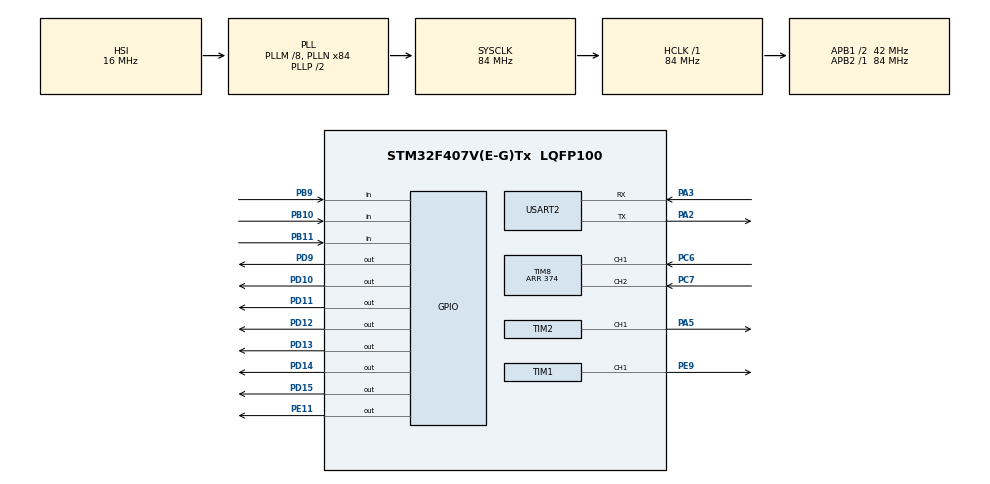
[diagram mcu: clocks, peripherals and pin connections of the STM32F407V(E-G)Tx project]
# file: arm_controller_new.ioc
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Dma.Request0=USART2_RX
Dma.USART2_RX.0.Direction=DMA_PERIPH_TO_MEMORY
Dma.USART2_RX.0.FIFOMode=DMA_FIFOMODE_DISABLE
Dma.USART2_RX.0.Instance=DMA1_Stream5
Dma.USART2_RX.0.MemDataAlignment=DMA_MDATAALIGN_BYTE
Dma.USART2_RX.0.MemInc=DMA_MINC_ENABLE
Dma.USART2_RX.0.Mode=DMA_CIRCULAR
Dma.USART2_RX.0.PeriphDataAlignment=DMA_PDATAALIGN_BYTE
Dma.USART2_RX.0.PeriphInc=DMA_PINC_DISABLE
Dma.USART2_RX.0.Priority=DMA_PRIORITY_VERY_HIGH
Mcu.Family=STM32F4
Mcu.Name=STM32F407V(E-G)Tx
Mcu.Package=LQFP100
NVIC.DMA1_Stream5_IRQn=true\:15\:0\:true\:false\:true\:false\:true
NVIC.PriorityGroup=NVIC_PRIORITYGROUP_4
NVIC.TIM3_IRQn=true\:15\:0\:true\:false\:true\:true\:true
<<<<<<< HEAD
=======
NVIC.USART2_IRQn=true\:0\:0\:false\:false\:true\:true\:true
>>>>>>> 4525c607d7f788c515af0eabedd7d3ae81850b45
PA13.Mode=Serial_Wire
PA13.Signal=SYS_JTMS-SWDIO
PA14.Mode=Serial_Wire
PA14.Signal=SYS_JTCK-SWCLK
PA2.Mode=Asynchronous
PA2.Signal=USART2_TX
PA3.Mode=Asynchronous
PA3.Signal=USART2_RX
PA5.Signal=S_TIM2_CH1_ETR
PB10.Signal=GPIO_Input
PB11.GPIO_Mode=GPIO_MODE_INPUT
PB11.GPIO_PuPd=GPIO_NOPULL
PB11.Signal=GPIO_Input
PB9.GPIO_Mode=GPIO_MODE_INPUT
PB9.GPIO_PuPd=GPIO_NOPULL
PB9.Signal=GPIO_Input
PC6.GPIO_Speed=GPIO_SPEED_FREQ_HIGH
PC6.Signal=S_TIM8_CH1
PC7.Signal=S_TIM8_CH2
PD10.GPIO_ModeDefaultOutputPP=GPIO_MODE_OUTPUT_PP
PD10.GPIO_PuPd=GPIO_NOPULL
PD10.GPIO_Speed=GPIO_SPEED_FREQ_VERY_HIGH
PD10.PinState=GPIO_PIN_RESET
PD10.Signal=GPIO_Output
PD11.GPIO_ModeDefaultOutputPP=GPIO_MODE_OUTPUT_PP
PD11.GPIO_PuPd=GPIO_NOPULL
PD11.GPIO_Speed=GPIO_SPEED_FREQ_VERY_HIGH
PD11.PinState=GPIO_PIN_RESET
PD11.Signal=GPIO_Output
PD12.GPIO_ModeDefaultOutputPP=GPIO_MODE_OUTPUT_PP
PD12.GPIO_PuPd=GPIO_PULLUP
PD12.GPIO_Speed=GPIO_SPEED_FREQ_VERY_HIGH
PD12.PinState=GPIO_PIN_RESET
PD12.Signal=GPIO_Output
PD13.Signal=GPIO_Output
PD14.GPIO_ModeDefaultOutputPP=GPIO_MODE_OUTPUT_PP
PD14.GPIO_PuPd=GPIO_PULLUP
PD14.GPIO_Speed=GPIO_SPEED_FREQ_VERY_HIGH
PD14.PinState=GPIO_PIN_RESET
PD14.Signal=GPIO_Output
PD15.GPIO_ModeDefaultOutputPP=GPIO_MODE_OUTPUT_PP
PD15.GPIO_PuPd=GPIO_PULLUP
PD15.GPIO_Speed=GPIO_SPEED_FREQ_VERY_HIGH
PD15.PinState=GPIO_PIN_RESET
PD15.Signal=GPIO_Output
PD9.GPIO_ModeDefaultOutputPP=GPIO_MODE_OUTPUT_PP
PD9.GPIO_PuPd=GPIO_NOPULL
PD9.GPIO_Speed=GPIO_SPEED_FREQ_VERY_HIGH
PD9.PinState=GPIO_PIN_RESET
PD9.Signal=GPIO_Output
PE11.Signal=GPIO_Output
PE9.Signal=S_TIM1_CH1
ProjectManager.HeapSize=0x200
ProjectManager.StackSize=0x400
ProjectManager.TargetToolchain=MDK-ARM V5
RCC.48MHZClocksFreq_Value=42000000
RCC.AHBFreq_Value=84000000
RCC.APB1CLKDivider=RCC_HCLK_DIV2
RCC.APB1Freq_Value=42000000
RCC.APB1TimFreq_Value=84000000
RCC.APB2Freq_Value=84000000
RCC.APB2TimFreq_Value=84000000
RCC.CortexFreq_Value=84000000
RCC.HCLKFreq_Value=84000000
RCC.HSE_VALUE=25000000
RCC.HSI_VALUE=16000000
RCC.LSE_VALUE=32768
RCC.PLLM=8
RCC.PLLN=84
RCC.SYSCLKFreq_VALUE=84000000
RCC.SYSCLKSource=RCC_SYSCLKSOURCE_PLLCLK
RCC.VCOOutputFreq_Value=168000000
SH.S_TIM1_CH1.0=TIM1_CH1,PWM Generation1 CH1
SH.S_TIM2_CH1_ETR.0=TIM2_CH1,PWM Generation1 CH1
SH.S_TIM8_CH1.0=TIM8_CH1,Encoder_Interface
SH.S_TIM8_CH2.0=TIM8_CH2,Encoder_Interface
TIM1.Channel-PWM\ Generation1\ CH1=TIM_CHANNEL_1
TIM1.Period=999
TIM1.Prescaler=84
TIM2.Channel-PWM\ Generation1\ CH1=TIM_CHANNEL_1
TIM2.Period=1000-1
TIM2.Prescaler=1680-1
TIM3.Period=999
TIM3.Prescaler=8399
<<<<<<< HEAD
TIM8.Period=5000
=======
TIM8.Period=374
>>>>>>> 4525c607d7f788c515af0eabedd7d3ae81850b45
USART2.VirtualMode=VM_ASYNC
VP_TIM1_VS_ClockSourceINT.Mode=Internal
VP_TIM2_VS_ClockSourceINT.Mode=Internal
VP_TIM3_VS_ClockSourceINT.Mode=Internal
VP_TIM4_VS_ClockSourceINT.Mode=Internal
board=custom

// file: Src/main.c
/* USER CODE BEGIN Header */
/**
  ******************************************************************************
  * @file           : main.c
  * @brief          : Main program body
  ******************************************************************************
  * @attention
  *
  * <h2><center>&copy; Copyright (c) 2019 STMicroelectronics.
  * All rights reserved.</center></h2>
  *
  * This software component is licensed by ST under BSD 3-Clause license,
<<<<<<< HEAD
  * the "License"; You may not u	se this file except in compliance with the
=======
  * the "License"; You may not use this file except in compliance with the
>>>>>>> 4525c607d7f788c515af0eabedd7d3ae81850b45
  * License. You may obtain a copy of the License at:
  *                        opensource.org/licenses/BSD-3-Clause
  *
  ******************************************************************************
	SENSOR SONAR
<<<<<<< HEAD
=======
	VCC: 5V
>>>>>>> 4525c607d7f788c515af0eabedd7d3ae81850b45
	TRIGGER: D9 --- ECHO: B9
	TRIGGER: D10 --- ECHO: B10
	TRIGGER: D11 --- ECHO: B11

	-------------------------------
	MOTOR DC SERVO - pwm: PE9,   DIR: PE11
<<<<<<< HEAD
	M1 ->> OUT4 -->> M4 -->> PE11 (PWM)
	M2 ->> OUT3 -->> M3 -->> PE9	(DIR)
=======
	M1(red) 	->> OUT4 -->> IN4 -->> PE9 (PWM)
	M2(white) ->> OUT3 -->> IN3 -->> PE11	(DIR)
>>>>>>> 4525c607d7f788c515af0eabedd7d3ae81850b45

	-------------------------------
	MOTOR RC SERVO
	PWM --- PA5 (MAU CAM)
<<<<<<< HEAD
	ENCODER:
	PC6,7
	-------------------------------
		UART2(STM) ---- (USB)
		PA2 (TX) ---- RX
		PA3 (RX) ---- TX

=======

	-------------------------------
		UART2(STM) ---- (USB)
		PA2 (TX) ---- RX
		PA3 (RX) ---- TX

 ------------------------------
	ENCODER
		PC6
		PC7

>>>>>>> 4525c607d7f788c515af0eabedd7d3ae81850b45
*/

/* USER CODE END Header */

#include "main.h"

/* USER CODE BEGIN Includes */
#include "stm32f4xx.h"
<<<<<<< HEAD
//#include "dwt_delay.h"
#include "math.h"
#include "dwt_delay.h"
=======
#include "dwt_delay.h"
#include "math.h"
>>>>>>> 4525c607d7f788c515af0eabedd7d3ae81850b45
/* USER CODE END Includes */

TIM_HandleTypeDef htim1;
TIM_HandleTypeDef htim2;
TIM_HandleTypeDef htim3;
TIM_HandleTypeDef htim4;
TIM_HandleTypeDef htim8;

UART_HandleTypeDef huart2;
DMA_HandleTypeDef hdma_usart2_rx;

/* USER CODE BEGIN PV */
<<<<<<< HEAD

// vr for uart
float k[2];    // k[0] truoc cham, k[1] sau cham -> k[0],k[1] (float)
uint8_t receivebuffer[5], transmitData[2];
double data[4] = {0,0,0,0};

// _____Vr for Servo_________
float SERVO_MICROS_MAX = 2.7;
float SERVO_MICRO_MIN = 0.55;
int32_t pulse_length;
float x=0.2;
_Bool enableSendSpeed = 0, isStart = 0;
uint16_t pre_enc=0;
float dt=0.1F;

//_____Vr for control________
uint16_t f=0;
float pre_cte, int_cte=0, err=0, steer;
double pi=3.1415927;
float error;
uint8_t flag_stop;
uint8_t ss=0;
float angle =0, pre_angle=0;
uint16_t a1;

//_____Fuzzy_________
uint16_t DC_PWM = 0;
double setpoint;
double pre_Dv =0;
double v = 0;
int16_t DeltaDC_PWM = 0;

//_____Sonarsensor_________
volatile float distance1=0, distance2=0, distance3=0;
signed int upper_limit_sensor=20;
uint16_t local_time=0;
float Ts=0.1;
// _____PID_________
double int_DC_PWM = 0;
double diff_DC_PWM = 0;
uint16_t enc=0;
=======
// volatile float time_sensor1=0, time_sensor2=0, time_sensor3=0, time_sensor4=0; //timer for echo pulse from sensors
// uint16_t echo_sensor1=0, echo_sensor2=0, echo_sensor3=0, echo_sensor4=0;
// volatile unsigned int en_sensor1=0, en_sensor2=0, en_sensor3=0, en_sensor4=0;
volatile float distance1=0, distance2=0, distance3=0, distance4=0;
volatile uint16_t local_time=0;
uint8_t ss=0;
// volatile float alpha=0;
// volatile double current_speed_left=0, current_speed_right=0;
// unsigned int TIM_Period=399;
signed int upper_limit_sensor=20;
// volatile unsigned int count_spin=0,count_lost=0,count_track=0;
// volatile int error_Position=0,error_Distance=0;
uint8_t receivebuffer[6], transmitData[3];
uint8_t Obstacle=0;
uint8_t isStart=0, SttSpeed=0;
// volatile int pwm_L=0,pwm_R=0;
// vr for uart
float k[2]; // k[0] truoc cham, k[1] sau cham -> k[0],k[1] (float)
uint16_t pre_enc=0;
float dt=0.1F;
// vr for encoder
// uint16_t encCounter;
// uint16_t vantoc;
// vr for servo
float SERVO_MICROS_MAX = 2.5F;
float SERVO_MICRO_MIN = 0.5F;
int32_t pulse_length;
float x=0.2;
uint16_t f=0;
float pre_cte, int_cte=0, err=0, steer;

double pi=3.1415927;

float error;
float Ts=0.1;

uint8_t flag_stop;

// variables for twiddle
uint8_t flag_td=1; // flag twiddle
uint8_t td=0;
uint16_t it =0;
float sum_dp, best_err;
float p[3]={0,0,0}, dp[3]={1,1,1};

// float cte, pre_cte, diff_cte, err;

float v = 2.12F;
float cte;
float errorRcv;
>>>>>>> 4525c607d7f788c515af0eabedd7d3ae81850b45
/* USER CODE END PV */

void SystemClock_Config(void);
static void MX_GPIO_Init(void);
static void MX_DMA_Init(void);
static void MX_TIM1_Init(void);
static void MX_TIM2_Init(void);
static void MX_TIM3_Init(void);
static void MX_USART2_UART_Init(void);
static void MX_TIM8_Init(void);
static void MX_TIM4_Init(void);
/* USER CODE BEGIN PFP */
<<<<<<< HEAD
void PWM_servo(int16_t rota);
void PWM_DC_Servo(int16_t value);
void delay (uint32_t us);
float twiddle(float *p, float *dp, float err);
float Controller(float errorRcv, uint8_t Sttspeed);

// ------------------------Ham xuat dong co (PA5)----------------------------------
void PWM_servo(int16_t rota)
{
	rota+=90.0F;
	  pulse_length=(((SERVO_MICROS_MAX-SERVO_MICRO_MIN)*(float)rota)/180.0F+  SERVO_MICRO_MIN)*50.0F;
=======
void PWM_servo(float rota);
void PWM_DC_Servo(int16_t value);
void delay (uint32_t us);
float twiddle(float *p, float *dp, float err);
float PID_Controller(float errorRcv, uint8_t Sttspeed, float params[], uint16_t n);

//ham xuat dong co, rota(cam)  ----- PA0
void PWM_servo(float rota)
{
	if (fabs(rota)>50.0F)
	{
		rota= 50.0F*rota/(fabs(rota));
	}
	rota+=100.5F;

	  pulse_length=(((SERVO_MICROS_MAX-SERVO_MICRO_MIN)*(float)rota)/180.0F+SERVO_MICRO_MIN)*50.0F;
>>>>>>> 4525c607d7f788c515af0eabedd7d3ae81850b45
//	  pulse_length= (2.0F*(float)rota/180.0F+0.5F)*50.0F; //25->125
	__HAL_TIM_SET_COMPARE(&htim2, TIM_CHANNEL_1, (int16_t)pulse_length);
}

// control dc servo ----- pwm: PE9,   DIR: PE11
void PWM_DC_Servo(int16_t value)
{
	// tien
	if (value>=0)
	{
		__HAL_TIM_SET_COMPARE(&htim1, TIM_CHANNEL_1, value);
		HAL_GPIO_WritePin(GPIOE, GPIO_PIN_11, GPIO_PIN_RESET);
	}
	// lui
	else
	{
		__HAL_TIM_SET_COMPARE(&htim1, TIM_CHANNEL_1, -value);
		HAL_GPIO_WritePin(GPIOE, GPIO_PIN_11, GPIO_PIN_SET);
	}
<<<<<<< HEAD
	a1=value;
}

// ------------------------Read Sonar Sensor----------------------------------
float hcsr04_read (uint16_t GPIO_TRIGGER, uint16_t GPIO_ECHO)
{
	local_time=0;
	HAL_GPIO_WritePin(GPIOD, GPIO_TRIGGER, GPIO_PIN_SET);  // pull the TRIG pin low
	HAL_Delay(1);
	HAL_GPIO_TogglePin(GPIOD, GPIO_PIN_13);
=======
}

// read sonar sensor
float hcsr04_read (uint16_t GPIO_TRIGGER, uint16_t GPIO_ECHO)
{
	local_time=0;
	//	DWT_Delay(100);
	// uint16_t timeout=0;
	// HAL_GPIO_WritePin(GPIOD, GPIO_TRIGGER, GPIO_PIN_RESET);  // pull the TRIG pin HIGH
	// DWT_Delay_us(2);  // wait for 2 us
	HAL_GPIO_WritePin(GPIOD, GPIO_TRIGGER, GPIO_PIN_SET);  // pull the TRIG pin low
	DWT_Delay(10);  // wait for 10 us

>>>>>>> 4525c607d7f788c515af0eabedd7d3ae81850b45
	HAL_GPIO_WritePin(GPIOD, GPIO_TRIGGER, GPIO_PIN_RESET);  // pull the TRIG pin HIGH

	// read the time for which the pin is high

	while (!(HAL_GPIO_ReadPin(GPIOB, GPIO_ECHO)));  // wait for the ECHO pin to go high

	while (HAL_GPIO_ReadPin(GPIOB, GPIO_ECHO))    // while the pin is high
	 {
<<<<<<< HEAD

		local_time++;   // measure time for which the pin is high
		 // DWT_Delay(2);
	 }
	return local_time*0.00876/2;
=======
		local_time++;   // measure time for which the pin is high
		DWT_Delay(1);
	 }
	return local_time*0.0526/2;
>>>>>>> 4525c607d7f788c515af0eabedd7d3ae81850b45
}

// get velocity
float velocity()
{
<<<<<<< HEAD
	 enc= TIM8->CNT;
	 TIM8->CNT=0;
	return(enc*1.3*pi/2387.0F);
}

// ------------------------Fuzzy Controller----------------------------------

double mu(double x,double L,double C1,double C2,double R){
	double y;
    if (x < L)
        y = 0;
    else if (x<C1)
        y = (x-L)/(C1-L);
    else if (x<C2)
        y = 1;
    else if (x<R)
        y = (R-x)/(R-C2);
    else
        y = 0;
    return y;
}

double max(double num1, double num2)
{
    return (num1 > num2 ) ? num1 : num2;
}

// Fuzzification for Servo
double Defuzzification_Servo(double Phi, double DPhi){
    // Fuzzification DPhi
    double DPhi_NE = mu(DPhi,-100, -100, -7, 0);
    double DPhi_ZE = mu(DPhi,-7, -3 , 3, 7);
    double DPhi_PO = mu(DPhi, 3, 7, 100, 100);

    // Fuzzification Phi
    double Phi_NB = mu(Phi, -90, -90, -45, -25);
    double Phi_NS = mu(Phi, -45, -25, -15, -5);
    double Phi_ZE = mu(Phi, -15, -5, 5, 15);
    double Phi_PS = mu(Phi, 5, 15, 25, 45);
    double Phi_PB = mu(Phi, 25, 45, 90, 90);

    // Defuzzication for output
    double Servo_NB = -60;
    double Servo_NM = -40;
    double Servo_NS = -20;
    double Servo_ZE = 	0;
    double Servo_PS =  20;
    double Servo_PM =  40;
    double Servo_PB =  60;

    // Rules
    double Servo1 = Phi_NB * DPhi_NE;
    double Servo2 = Phi_NB * DPhi_ZE;
    double Servo3 = Phi_NB * DPhi_PO;

    double Servo4 = Phi_NS * DPhi_NE;
    double Servo5 = Phi_NS * DPhi_ZE;
    double Servo6 = Phi_NS * DPhi_PO;

    double Servo7 = Phi_ZE * DPhi_NE;
    double Servo8 = Phi_ZE * DPhi_ZE;
    double Servo9 = Phi_ZE * DPhi_PO;

    double Servo10 = Phi_PS * DPhi_NE;
    double Servo11 = Phi_PS * DPhi_ZE;
    double Servo12 = Phi_PS * DPhi_PO;

    double Servo13 = Phi_PB * DPhi_NE;
    double Servo14 = Phi_PB * DPhi_ZE;
    double Servo15 = Phi_PB * DPhi_PO;

    // Max calculate
    double PB = max(Servo13,Servo14);
    double PM = Servo10;
    double PS = max(Servo15, max(Servo11, Servo7));
    double ZE = max(Servo12, max(Servo8, Servo4));
    double NS = max(Servo1, max(Servo5, Servo9));
    double NM = Servo6;
    double NB = max(Servo3, Servo2);

    double Sum_Servo = PB+PM+PS+ZE+NS+NM+NB;
		double DeltaPWM_Servo = 0;
		if (Sum_Servo != 0)
		{
			DeltaPWM_Servo = (Servo_PB*PB+Servo_PM*PM+Servo_PS*PS+Servo_ZE*ZE+Servo_NS*NS+Servo_NM*NM+Servo_NB*NB)/Sum_Servo;
		}
    return DeltaPWM_Servo;
}

// ------------------------Fuzzy Controller DC_Servo----------------------------------
double Defuzzification_DC_Servo(double Delta_v, double a){
    // Fuzzification a
    double DPhi_NE = mu(a,-1000, -1000, -0.1, -0.05);
    double DPhi_ZE = mu(a,-0.1, -0.05 , 0.05, 0.1);
    double DPhi_PO = mu(a, 0.05, 0.1, 1000, 1000);

    // Fuzzification Delta_v
    double Phi_NB = mu(Delta_v, -6, -6, -0.2, -0.1);
    double Phi_NS = mu(Delta_v, -0.2, -0.1, -0.05, 0);
    double Phi_ZE = mu(Delta_v, -0.05, 0, 0, 0.05);
    double Phi_PS = mu(Delta_v, 0, 0.05, 0.1, 0.2);
    double Phi_PB = mu(Delta_v, 0.1, 0.2, 6, 6);

    // Defuzzication for output
    double DCServo_NB = -200;
    double DCServo_NM = -120;
    double DCServo_NS = -60;
    double DCServo_ZE = 0;
    double DCServo_PS = 60;
    double DCServo_PM = 120;
		double DCServo_PB = 200;
    // Rules
    double DCServo1 = Phi_NB * DPhi_NE;
    double DCServo2 = Phi_NB * DPhi_ZE;
    double DCServo3 = Phi_NB * DPhi_PO;

    double DCServo4 = Phi_NS * DPhi_NE;
    double DCServo5 = Phi_NS * DPhi_ZE;
    double DCServo6 = Phi_NS * DPhi_PO;

    double DCServo7 = Phi_ZE * DPhi_NE;
    double DCServo8 = Phi_ZE * DPhi_ZE;
    double DCServo9 = Phi_ZE * DPhi_PO;

    double DCServo10 = Phi_PS * DPhi_NE;
    double DCServo11 = Phi_PS * DPhi_ZE;
    double DCServo12 = Phi_PS * DPhi_PO;

    double DCServo13 = Phi_PB * DPhi_NE;
    double DCServo14 = Phi_PB * DPhi_ZE;
    double DCServo15 = Phi_PB * DPhi_PO;

    // Max calculate
    double PB = max(DCServo15, DCServo14);
    double PM = DCServo12;
    double PS = max(DCServo13, max(DCServo11, DCServo9));
    double ZE = max(DCServo10, max(DCServo8, DCServo6));
    double NS = max(DCServo3, max(DCServo5, DCServo7));
    double NM = DCServo4;
    double NB = max(DCServo1,DCServo2);

    double Sum_DCServo = PB+PM+PS+ZE+NS+NM+NB;
		double PWM_DCServo = 0;
		if (Sum_DCServo!= 0)
		{
			PWM_DCServo = (DCServo_PB*PB+DCServo_PM*PM+DCServo_PS*PS+DCServo_ZE*ZE+DCServo_NS*NS+DCServo_NM*NM+DCServo_NB*NB)/Sum_DCServo;
		}
//	  uint16_t speed;
//		if(Sttspeed==1)
//				speed=800;
//		else if(Sttspeed==0)
//				speed=600;
    return PWM_DCServo;
}
	// ------------------------PID----------------------------------
void PID_Controller(float setpt)
{
	float Kp = 2.3;
	float Ki = 0.1;
	float Kd = 0.02;
	double Dv = 200*(setpt - v);
	int_DC_PWM = int_DC_PWM + Dv;
	diff_DC_PWM = Dv - pre_Dv;

	pre_Dv = Dv;

	DC_PWM = -(Kp*Dv + Ki*int_DC_PWM + Kd*diff_DC_PWM);

=======
	uint16_t enc= TIM8->CNT;
	TIM8->CNT=0;
	return(enc*pi/374.0F);
}
//--------------------- 14/05/2020-------------------

//float polyeval(float k[], double x)
//{
//	float y=0;
//	for(int i=0; i< 3 ; i++ )
//	y+=k[i]*powf(x,3-i);
//	return y;
//	}

	/*
	fast => speed 400
	slow => speed 200
	*/

float PID_Controller(float errorRcv, uint8_t Sttspeed, float params[], uint16_t n)
{

	float diff_cte;
	uint16_t speed;
	if(Sttspeed==1)
		speed=900;
	else if(Sttspeed==0)
		speed=400;
		pre_cte = cte;
	//pre_cte = polyeval(k, 0);
	f++;
		cte = errorRcv;
//	cte = polyeval(k, 0);
	diff_cte=cte-pre_cte;
	int_cte+=cte;
	pre_cte=cte;
	steer=-params[0]*cte-params[2]*int_cte-params[1]*diff_cte;
	if (fabs(steer)>50.0F)
	{
		steer= 50.0F*steer/(fabs(steer));
	}
	PWM_DC_Servo(speed);
  PWM_servo(steer);

	if(f>=n)
	{
		err += cte*cte;
	}
	if(f==2*n)
	{
		f=0;
	}
	return err/n;
}

float twiddle(float *p, float *dp, float err)
{
	//p[0]=p[1]=p[2]=0;
  //dp[0]=dp[1]=dp[2]=1;
	//float best_err= PID_Controller(errorRcv,2.0, p, 100);

	//if (sum_dp<0.2)
		//return -1;

	if (flag_td==1)
	{
		p[td] +=dp[td];
		 //err= PID_Controller(errorRcv,2.0,p,100);

		if (err<best_err)
		{
			best_err=err;
			dp[td] *=1.1F;
			td=(td+1)%3;
		}
		else
		{
			flag_td=0;
		}
	}
	else
	{
		flag_td=1;
		p[td]-=2*dp[td];
	//	err= PID_Controller(errorRcv,2.0,p,100);

		if (err<best_err)
		{
			best_err =err;
			dp[td] *=1.1F;
		}
		 else
		{
			p[td] +=dp[td];
			dp[td] *=0.9F;
		}
		td=(td+1)%3;
	}
	//sum_dp=dp[2]+dp[1]+dp[0];
//	sum_dp=dp[2]+dp[1]+dp[0];
	it++;

	return -1;
>>>>>>> 4525c607d7f788c515af0eabedd7d3ae81850b45
}

/* USER CODE END PFP */

int main(void)
<<<<<<< HEAD
{
  /* USER CODE BEGIN 1 */

=======
																{
  /* USER CODE BEGIN 1 */

>>>>>>> 4525c607d7f788c515af0eabedd7d3ae81850b45
  /* USER CODE END 1 */

  /* MCU Configuration--------------------------------------------------------*/

  /* Reset of all peripherals, Initializes the Flash interface and the Systick. */
  HAL_Init();

  /* Configure the system clock */
  SystemClock_Config();

  /* USER CODE BEGIN SysInit */

<<<<<<< HEAD

=======
>>>>>>> 4525c607d7f788c515af0eabedd7d3ae81850b45
  /* USER CODE END SysInit */

  /* Initialize all configured peripherals */
  MX_GPIO_Init();
  MX_DMA_Init();
  MX_TIM1_Init();
  MX_TIM2_Init();
  MX_TIM3_Init();
  MX_USART2_UART_Init();
  MX_TIM8_Init();
  MX_TIM4_Init();
  /* USER CODE BEGIN 2 */
<<<<<<< HEAD
//	DWT_Init();

=======
	DWT_Init();
>>>>>>> 4525c607d7f788c515af0eabedd7d3ae81850b45
	HAL_TIM_PWM_Start(&htim1,TIM_CHANNEL_1);
	HAL_TIM_Base_Start(&htim1);
	HAL_TIM_Base_Start(&htim2);
	HAL_TIM_PWM_Start(&htim2, TIM_CHANNEL_1);
	HAL_TIM_Base_Start_IT(&htim3);
	HAL_TIM_Encoder_Start(&htim8,TIM_CHANNEL_1);
//	HAL_TIM_Base_Start(&htim4);
<<<<<<< HEAD
	HAL_UART_Receive_DMA(&huart2,&receivebuffer[0],5);
	DWT_Init();
=======
	HAL_UART_Receive_DMA(&huart2,&receivebuffer[0],6);
	//SetPWM_Forward_Backward((int)0);
	//SetPWM_Forward_Backward((int)0);

>>>>>>> 4525c607d7f788c515af0eabedd7d3ae81850b45
  /* USER CODE END 2 */

  /* Infinite loop */
  /* USER CODE BEGIN WHILE */
	//__HAL_TIM_SET_COMPARE(&htim2, TIM_CHANNEL_1,(2*90)/90+0.5);
	//HAL_GPIO_WritePin(GPIOD, GPIO_PIN_14, GPIO_PIN_RESET);
  while (1)
  {
<<<<<<< HEAD

=======

>>>>>>> 4525c607d7f788c515af0eabedd7d3ae81850b45
    /* USER CODE END WHILE */

  }
}

void SystemClock_Config(void)
{
  RCC_OscInitTypeDef RCC_OscInitStruct = {0};
  RCC_ClkInitTypeDef RCC_ClkInitStruct = {0};

  /** Configure the main internal regulator output voltage
  */
  __HAL_RCC_PWR_CLK_ENABLE();
  __HAL_PWR_VOLTAGESCALING_CONFIG(PWR_REGULATOR_VOLTAGE_SCALE1);
  /** Initializes the CPU, AHB and APB busses clocks
  */
  RCC_OscInitStruct.OscillatorType = RCC_OSCILLATORTYPE_HSI;
  RCC_OscInitStruct.HSIState = RCC_HSI_ON;
  RCC_OscInitStruct.HSICalibrationValue = RCC_HSICALIBRATION_DEFAULT;
  RCC_OscInitStruct.PLL.PLLState = RCC_PLL_ON;
  RCC_OscInitStruct.PLL.PLLSource = RCC_PLLSOURCE_HSI;
  RCC_OscInitStruct.PLL.PLLM = 8;
  RCC_OscInitStruct.PLL.PLLN = 84;
  RCC_OscInitStruct.PLL.PLLP = RCC_PLLP_DIV2;
  RCC_OscInitStruct.PLL.PLLQ = 4;
  if (HAL_RCC_OscConfig(&RCC_OscInitStruct) != HAL_OK)
  {
    Error_Handler();
  }
  /** Initializes the CPU, AHB and APB busses clocks
  */
  RCC_ClkInitStruct.ClockType = RCC_CLOCKTYPE_HCLK|RCC_CLOCKTYPE_SYSCLK
                              |RCC_CLOCKTYPE_PCLK1|RCC_CLOCKTYPE_PCLK2;
  RCC_ClkInitStruct.SYSCLKSource = RCC_SYSCLKSOURCE_PLLCLK;
  RCC_ClkInitStruct.AHBCLKDivider = RCC_SYSCLK_DIV1;
  RCC_ClkInitStruct.APB1CLKDivider = RCC_HCLK_DIV2;
  RCC_ClkInitStruct.APB2CLKDivider = RCC_HCLK_DIV1;

  if (HAL_RCC_ClockConfig(&RCC_ClkInitStruct, FLASH_LATENCY_2) != HAL_OK)
  {
    Error_Handler();
  }
}

static void MX_TIM1_Init(void)
{

  TIM_ClockConfigTypeDef sClockSourceConfig = {0};
  TIM_MasterConfigTypeDef sMasterConfig = {0};
  TIM_OC_InitTypeDef sConfigOC = {0};
  TIM_BreakDeadTimeConfigTypeDef sBreakDeadTimeConfig = {0};

  htim1.Instance = TIM1;
  htim1.Init.Prescaler = 84;
  htim1.Init.CounterMode = TIM_COUNTERMODE_UP;
  htim1.Init.Period = 999;
  htim1.Init.ClockDivision = TIM_CLOCKDIVISION_DIV1;
  htim1.Init.RepetitionCounter = 0;
  htim1.Init.AutoReloadPreload = TIM_AUTORELOAD_PRELOAD_DISABLE;
  if (HAL_TIM_Base_Init(&htim1) != HAL_OK)
  {
    Error_Handler();
  }
  sClockSourceConfig.ClockSource = TIM_CLOCKSOURCE_INTERNAL;
  if (HAL_TIM_ConfigClockSource(&htim1, &sClockSourceConfig) != HAL_OK)
  {
    Error_Handler();
  }
  if (HAL_TIM_PWM_Init(&htim1) != HAL_OK)
  {
    Error_Handler();
  }
  sMasterConfig.MasterOutputTrigger = TIM_TRGO_RESET;
  sMasterConfig.MasterSlaveMode = TIM_MASTERSLAVEMODE_DISABLE;
  if (HAL_TIMEx_MasterConfigSynchronization(&htim1, &sMasterConfig) != HAL_OK)
  {
    Error_Handler();
  }
  sConfigOC.OCMode = TIM_OCMODE_PWM1;
  sConfigOC.Pulse = 0;
  sConfigOC.OCPolarity = TIM_OCPOLARITY_HIGH;
  sConfigOC.OCNPolarity = TIM_OCNPOLARITY_HIGH;
  sConfigOC.OCFastMode = TIM_OCFAST_DISABLE;
  sConfigOC.OCIdleState = TIM_OCIDLESTATE_RESET;
  sConfigOC.OCNIdleState = TIM_OCNIDLESTATE_RESET;
  if (HAL_TIM_PWM_ConfigChannel(&htim1, &sConfigOC, TIM_CHANNEL_1) != HAL_OK)
  {
    Error_Handler();
  }
  sBreakDeadTimeConfig.OffStateRunMode = TIM_OSSR_DISABLE;
  sBreakDeadTimeConfig.OffStateIDLEMode = TIM_OSSI_DISABLE;
  sBreakDeadTimeConfig.LockLevel = TIM_LOCKLEVEL_OFF;
  sBreakDeadTimeConfig.DeadTime = 0;
  sBreakDeadTimeConfig.BreakState = TIM_BREAK_DISABLE;
  sBreakDeadTimeConfig.BreakPolarity = TIM_BREAKPOLARITY_HIGH;
  sBreakDeadTimeConfig.AutomaticOutput = TIM_AUTOMATICOUTPUT_DISABLE;
  if (HAL_TIMEx_ConfigBreakDeadTime(&htim1, &sBreakDeadTimeConfig) != HAL_OK)
  {
    Error_Handler();
  }
  HAL_TIM_MspPostInit(&htim1);

}

static void MX_TIM2_Init(void)
{

  TIM_ClockConfigTypeDef sClockSourceConfig = {0};
  TIM_MasterConfigTypeDef sMasterConfig = {0};
  TIM_OC_InitTypeDef sConfigOC = {0};

  htim2.Instance = TIM2;
  htim2.Init.Prescaler = 1680-1;
  htim2.Init.CounterMode = TIM_COUNTERMODE_UP;
  htim2.Init.Period = 1000-1;
  htim2.Init.ClockDivision = TIM_CLOCKDIVISION_DIV1;
  htim2.Init.AutoReloadPreload = TIM_AUTORELOAD_PRELOAD_DISABLE;
  if (HAL_TIM_Base_Init(&htim2) != HAL_OK)
  {
    Error_Handler();
  }
  sClockSourceConfig.ClockSource = TIM_CLOCKSOURCE_INTERNAL;
  if (HAL_TIM_ConfigClockSource(&htim2, &sClockSourceConfig) != HAL_OK)
  {
    Error_Handler();
  }
  if (HAL_TIM_PWM_Init(&htim2) != HAL_OK)
  {
    Error_Handler();
  }
  sMasterConfig.MasterOutputTrigger = TIM_TRGO_RESET;
  sMasterConfig.MasterSlaveMode = TIM_MASTERSLAVEMODE_DISABLE;
  if (HAL_TIMEx_MasterConfigSynchronization(&htim2, &sMasterConfig) != HAL_OK)
  {
    Error_Handler();
  }
  sConfigOC.OCMode = TIM_OCMODE_PWM1;
  sConfigOC.Pulse = 0;
  sConfigOC.OCPolarity = TIM_OCPOLARITY_HIGH;
  sConfigOC.OCFastMode = TIM_OCFAST_DISABLE;
  if (HAL_TIM_PWM_ConfigChannel(&htim2, &sConfigOC, TIM_CHANNEL_1) != HAL_OK)
  {
    Error_Handler();
  }
  HAL_TIM_MspPostInit(&htim2);

}

static void MX_TIM3_Init(void)
{

  TIM_ClockConfigTypeDef sClockSourceConfig = {0};
  TIM_MasterConfigTypeDef sMasterConfig = {0};

  htim3.Instance = TIM3;
  htim3.Init.Prescaler = 8399;
  htim3.Init.CounterMode = TIM_COUNTERMODE_UP;
  htim3.Init.Period = 999;
  htim3.Init.ClockDivision = TIM_CLOCKDIVISION_DIV1;
  htim3.Init.AutoReloadPreload = TIM_AUTORELOAD_PRELOAD_DISABLE;
  if (HAL_TIM_Base_Init(&htim3) != HAL_OK)
  {
    Error_Handler();
  }
  sClockSourceConfig.ClockSource = TIM_CLOCKSOURCE_INTERNAL;
  if (HAL_TIM_ConfigClockSource(&htim3, &sClockSourceConfig) != HAL_OK)
  {
    Error_Handler();
  }
  sMasterConfig.MasterOutputTrigger = TIM_TRGO_RESET;
  sMasterConfig.MasterSlaveMode = TIM_MASTERSLAVEMODE_DISABLE;
  if (HAL_TIMEx_MasterConfigSynchronization(&htim3, &sMasterConfig) != HAL_OK)
  {
    Error_Handler();
  }

}

static void MX_TIM4_Init(void)
{

  TIM_ClockConfigTypeDef sClockSourceConfig = {0};
  TIM_MasterConfigTypeDef sMasterConfig = {0};

  htim4.Instance = TIM4;
  htim4.Init.Prescaler = 0;
  htim4.Init.CounterMode = TIM_COUNTERMODE_UP;
  htim4.Init.Period = 0;
  htim4.Init.ClockDivision = TIM_CLOCKDIVISION_DIV1;
  htim4.Init.AutoReloadPreload = TIM_AUTORELOAD_PRELOAD_DISABLE;
  if (HAL_TIM_Base_Init(&htim4) != HAL_OK)
  {
    Error_Handler();
  }
  sClockSourceConfig.ClockSource = TIM_CLOCKSOURCE_INTERNAL;
  if (HAL_TIM_ConfigClockSource(&htim4, &sClockSourceConfig) != HAL_OK)
  {
    Error_Handler();
  }
  sMasterConfig.MasterOutputTrigger = TIM_TRGO_RESET;
  sMasterConfig.MasterSlaveMode = TIM_MASTERSLAVEMODE_DISABLE;
  if (HAL_TIMEx_MasterConfigSynchronization(&htim4, &sMasterConfig) != HAL_OK)
  {
    Error_Handler();
  }

}

static void MX_TIM8_Init(void)
{

  TIM_Encoder_InitTypeDef sConfig = {0};
  TIM_MasterConfigTypeDef sMasterConfig = {0};

  htim8.Instance = TIM8;
  htim8.Init.Prescaler = 0;
  htim8.Init.CounterMode = TIM_COUNTERMODE_UP;
<<<<<<< HEAD
  htim8.Init.Period = 5000;
=======
  htim8.Init.Period = 374;
>>>>>>> 4525c607d7f788c515af0eabedd7d3ae81850b45
  htim8.Init.ClockDivision = TIM_CLOCKDIVISION_DIV1;
  htim8.Init.RepetitionCounter = 0;
  htim8.Init.AutoReloadPreload = TIM_AUTORELOAD_PRELOAD_DISABLE;
  sConfig.EncoderMode = TIM_ENCODERMODE_TI1;
  sConfig.IC1Polarity = TIM_ICPOLARITY_RISING;
  sConfig.IC1Selection = TIM_ICSELECTION_DIRECTTI;
  sConfig.IC1Prescaler = TIM_ICPSC_DIV1;
  sConfig.IC1Filter = 0;
  sConfig.IC2Polarity = TIM_ICPOLARITY_RISING;
  sConfig.IC2Selection = TIM_ICSELECTION_DIRECTTI;
  sConfig.IC2Prescaler = TIM_ICPSC_DIV1;
  sConfig.IC2Filter = 0;
  if (HAL_TIM_Encoder_Init(&htim8, &sConfig) != HAL_OK)
  {
    Error_Handler();
  }
  sMasterConfig.MasterOutputTrigger = TIM_TRGO_RESET;
  sMasterConfig.MasterSlaveMode = TIM_MASTERSLAVEMODE_DISABLE;
  if (HAL_TIMEx_MasterConfigSynchronization(&htim8, &sMasterConfig) != HAL_OK)
  {
    Error_Handler();
  }

}

static void MX_USART2_UART_Init(void)
{

  huart2.Instance = USART2;
  huart2.Init.BaudRate = 115200;
  huart2.Init.WordLength = UART_WORDLENGTH_8B;
  huart2.Init.StopBits = UART_STOPBITS_1;
  huart2.Init.Parity = UART_PARITY_NONE;
  huart2.Init.Mode = UART_MODE_TX_RX;
  huart2.Init.HwFlowCtl = UART_HWCONTROL_NONE;
  huart2.Init.OverSampling = UART_OVERSAMPLING_16;
  if (HAL_UART_Init(&huart2) != HAL_OK)
  {
    Error_Handler();
  }

}

static void MX_DMA_Init(void)
{
  /* DMA controller clock enable */
  __HAL_RCC_DMA1_CLK_ENABLE();

  /* DMA interrupt init */
  /* DMA1_Stream5_IRQn interrupt configuration */
  HAL_NVIC_SetPriority(DMA1_Stream5_IRQn, 15, 0);
  HAL_NVIC_EnableIRQ(DMA1_Stream5_IRQn);

}

static void MX_GPIO_Init(void)
{
  GPIO_InitTypeDef GPIO_InitStruct = {0};

  /* GPIO Ports Clock Enable */
  __HAL_RCC_GPIOA_CLK_ENABLE();
  __HAL_RCC_GPIOE_CLK_ENABLE();
  __HAL_RCC_GPIOB_CLK_ENABLE();
  __HAL_RCC_GPIOD_CLK_ENABLE();
  __HAL_RCC_GPIOC_CLK_ENABLE();

  /*Configure GPIO pin Output Level */
  HAL_GPIO_WritePin(GPIOE, GPIO_PIN_11, GPIO_PIN_RESET);

  /*Configure GPIO pin Output Level */
  HAL_GPIO_WritePin(GPIOD, GPIO_PIN_9|GPIO_PIN_10|GPIO_PIN_11|GPIO_PIN_12
                          |GPIO_PIN_13|GPIO_PIN_14|GPIO_PIN_15, GPIO_PIN_RESET);

  /*Configure GPIO pin : PE11 */
  GPIO_InitStruct.Pin = GPIO_PIN_11;
  GPIO_InitStruct.Mode = GPIO_MODE_OUTPUT_PP;
  GPIO_InitStruct.Pull = GPIO_NOPULL;
  GPIO_InitStruct.Speed = GPIO_SPEED_FREQ_LOW;
  HAL_GPIO_Init(GPIOE, &GPIO_InitStruct);

  /*Configure GPIO pins : PB10 PB11 PB9 */
  GPIO_InitStruct.Pin = GPIO_PIN_10|GPIO_PIN_11|GPIO_PIN_9;
  GPIO_InitStruct.Mode = GPIO_MODE_INPUT;
  GPIO_InitStruct.Pull = GPIO_NOPULL;
  HAL_GPIO_Init(GPIOB, &GPIO_InitStruct);

  /*Configure GPIO pins : PD9 PD10 PD11 */
  GPIO_InitStruct.Pin = GPIO_PIN_9|GPIO_PIN_10|GPIO_PIN_11;
  GPIO_InitStruct.Mode = GPIO_MODE_OUTPUT_PP;
  GPIO_InitStruct.Pull = GPIO_NOPULL;
  GPIO_InitStruct.Speed = GPIO_SPEED_FREQ_VERY_HIGH;
  HAL_GPIO_Init(GPIOD, &GPIO_InitStruct);

  /*Configure GPIO pins : PD12 PD14 PD15 */
  GPIO_InitStruct.Pin = GPIO_PIN_12|GPIO_PIN_14|GPIO_PIN_15;
  GPIO_InitStruct.Mode = GPIO_MODE_OUTPUT_PP;
  GPIO_InitStruct.Pull = GPIO_PULLUP;
  GPIO_InitStruct.Speed = GPIO_SPEED_FREQ_VERY_HIGH;
  HAL_GPIO_Init(GPIOD, &GPIO_InitStruct);

  /*Configure GPIO pin : PD13 */
  GPIO_InitStruct.Pin = GPIO_PIN_13;
  GPIO_InitStruct.Mode = GPIO_MODE_OUTPUT_PP;
  GPIO_InitStruct.Pull = GPIO_NOPULL;
  GPIO_InitStruct.Speed = GPIO_SPEED_FREQ_LOW;
  HAL_GPIO_Init(GPIOD, &GPIO_InitStruct);

}

/* USER CODE BEGIN 4 */
// time3 cu moi 100ms gui du lieu 1 lan

void HAL_TIM_PeriodElapsedCallback(TIM_HandleTypeDef *htim){
	if(htim->Instance==htim3.Instance)
	{
<<<<<<< HEAD
//	HAL_GPIO_TogglePin(GPIOD, GPIO_PIN_12);
//		ss=(ss+1)%3;
//		if(ss==0)
//		distance1 = hcsr04_read(GPIO_PIN_9, GPIO_PIN_9);
//		else if (ss==1)
//		distance2 = hcsr04_read(GPIO_PIN_10, GPIO_PIN_10);
//		else
//		distance3 =  hcsr04_read(GPIO_PIN_11, GPIO_PIN_11);

		distance1 = 100;
		distance2 = 100;
		distance3 = 100;
		// TRIGGER: D9 --- ECHO: B9
		// TRIGGER: D10 --- ECHO: B10
		// TRIGGER: D11 --- ECHO: B11

		// Get data from Raspberrry through UART
		// receivebuffer=[0: goc, 1: vantoc, 4: isStart , 5: SttSpeed]
		int i=0;
		v = velocity();
		double vantoc = v*50.F;
		transmitData[0]=(int)vantoc;
		transmitData[1]=(int)((vantoc-transmitData[0])*100);
		if (enableSendSpeed==1)
		{
		HAL_UART_Transmit(&huart2, &transmitData[0], 2, 1);
		}

			k[0] =	(int16_t)(((int16_t)receivebuffer[0]<<8)|(int16_t)receivebuffer[1]);
			k[1] = (int16_t)(((int16_t)receivebuffer[2]<<8)|(int16_t)receivebuffer[3]);
			angle = k[1]/100 -90.0F;
			setpoint =k[0]/100;

			isStart = receivebuffer[4];

			if (receivebuffer[4] == 1)
			{
				enableSendSpeed=1;
			}
		// isStart=1;Fuzzy controller for Servo
		if (isStart==1&&distance1>upper_limit_sensor && distance2>upper_limit_sensor+10 &&
				distance3>upper_limit_sensor)
			{
			float DAngle = angle - pre_angle;
			pre_angle =angle;
			steer = (int)Defuzzification_Servo(angle, DAngle);
			if (steer > 60)
				steer = 60;
			else if (steer < -60)
				steer = -60;

			double steer_out = data[3];

			for (i =3; i>=1; i--)
			{
				data[i] =data[i-1];

			}
			data[0] = steer;

			PWM_servo(steer_out);

			// Fuzzy controller for DC_Servo
			float Dv = setpoint - v;
			float a =Dv - pre_Dv;
			pre_Dv = Dv;
			DeltaDC_PWM = (int)Defuzzification_DC_Servo(Dv, a);
			DC_PWM = DC_PWM + DeltaDC_PWM;
			if (DC_PWM > 1000)
				DC_PWM = 1000;
			else if (DC_PWM <= 0)
				DC_PWM = 0;
			PWM_DC_Servo(DC_PWM);
			/*
			PID_Controller(0.5);
			PWM_DC_Servo(DC_PWM);
			*/
		}
=======
		/*
		ss=(ss+1)%3;
		if(ss==0)
		distance1 = hcsr04_read(GPIO_PIN_9, GPIO_PIN_9);
		else if (ss==1)
		distance2 = hcsr04_read(GPIO_PIN_10, GPIO_PIN_10);
		else
		distance3 =  hcsr04_read(GPIO_PIN_11, GPIO_PIN_11);
		*/

		distance1 = 100;
		distance2 = 100;
		distance3 = 100;
		// Get data from Raspberrry through UART
		v = velocity();

		//v = 100.60;

			k[0] = receivebuffer[0];
			//k[0] = (int16_t)(((int16_t)receivebuffer[0]<<8)|(int16_t)receivebuffer[1]);
			//k[1] = (int16_t)(((int16_t)receivebuffer[2]<<8)|(int16_t)receivebuffer[3]);
			isStart = receivebuffer[4];
			SttSpeed = receivebuffer[5];
			//isStart=1;
		 	//SttSpeed=0;

		if (isStart==1)
		{
			errorRcv = k[0]-50.0F;
			upper_limit_sensor =30;
			if(distance1>upper_limit_sensor && distance2>upper_limit_sensor+10 &&
				distance3>upper_limit_sensor)
			{
				Obstacle =0;
				//float p[3]={1,0.1,0};
				err=PID_Controller(errorRcv, SttSpeed, p, 15);

				sum_dp = dp[0]+dp[1]+dp[2];
				if ((sum_dp>=0.2F) && (f==0))
				{
					twiddle(p, dp, err);
				}
			}
			// co vat can
			else
			{
				Obstacle=1;
				PWM_servo(0);
				flag_stop = 1;
				PWM_DC_Servo(0);
			}

		}

>>>>>>> 4525c607d7f788c515af0eabedd7d3ae81850b45
		else
		{
			PWM_DC_Servo(0);
		}
<<<<<<< HEAD

=======
		transmitData[0]=(int)v;
		transmitData[1]=(int)((v-transmitData[0])*100);
		transmitData[2]=(int)(Obstacle);
		HAL_UART_Transmit(&huart2, &transmitData[0], 3, 1);
>>>>>>> 4525c607d7f788c515af0eabedd7d3ae81850b45
	}
}

<<<<<<< HEAD
=======

>>>>>>> 4525c607d7f788c515af0eabedd7d3ae81850b45
/* USER CODE END 4 */

void Error_Handler(void)
{
}

/************************ (C) COPYRIGHT STMicroelectronics *****END OF FILE****/
